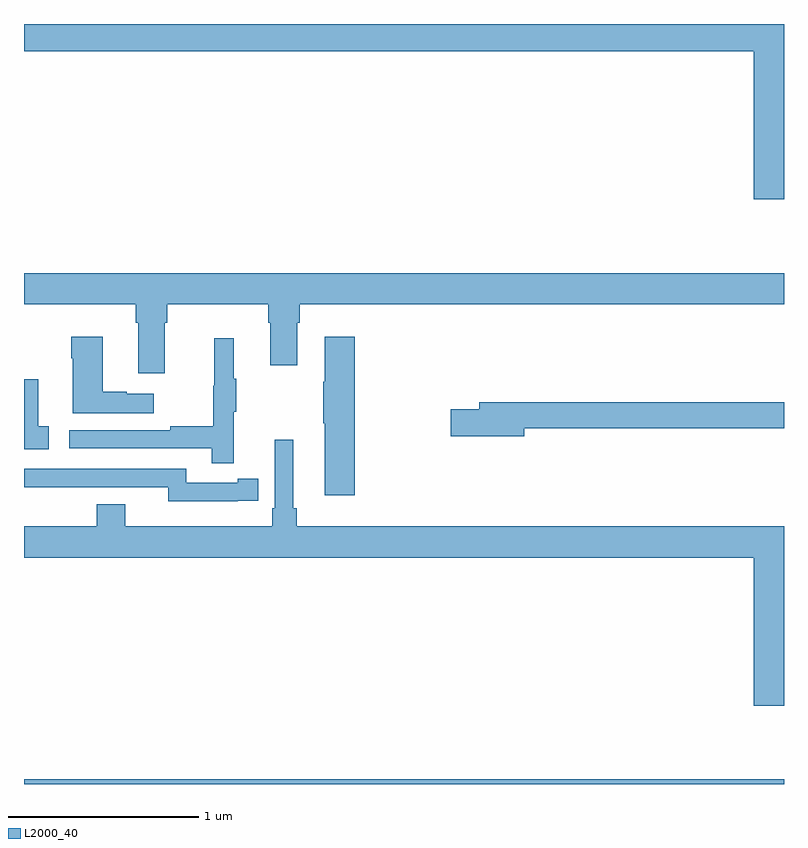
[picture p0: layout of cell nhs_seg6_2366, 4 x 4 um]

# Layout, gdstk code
import gdstk
lib = gdstk.Library(unit=1e-6, precision=1e-09)
def R(c, l, rs):  # rectangles x0, y0, x1, y1
    for r in rs: c.add(gdstk.rectangle(r[:2], r[2:], *l))
def P(c, l, *ps):  # polygons
    for p in ps: c.add(gdstk.Polygon(p, *l))
L2000_40 = (2000, 40)

nhs_seg6_2366 = lib.new_cell('nhs_seg6_2366')
R(nhs_seg6_2366, L2000_40, [(253,923.5,257,923.524)])
P(nhs_seg6_2366, L2000_40, [(257,927.5),(253,927.5),(253,927.356),(256.841,927.356),(256.841,926.577),(257,926.577)],
  [(253.741,925.928),(253.754,925.928),(253.754,926.024),(254.285,926.024),(254.285,925.928),(254.297,925.928),(254.297,925.704),(254.437,925.704),(254.437,925.928),(254.45,925.928),(254.45,926.024),(257,926.024),(257,926.188),(253,926.188),(253,926.024),(253.589,926.024),(253.589,925.928),(253.601,925.928),(253.601,925.662),(253.741,925.662)],
  [(253.684,925.555),(253.541,925.555),(253.541,925.565),(253.414,925.565),(253.414,925.855),(253.249,925.855),(253.249,925.742),(253.256,925.742),(253.256,925.451),(253.684,925.451)],
  [(254.741,925.855),(254.582,925.855),(254.582,925.616),(254.575,925.616),(254.575,925.399),(254.582,925.399),(254.582,925.02),(254.741,925.02)],
  [(254.105,925.459),(254.116,925.459),(254.116,925.633),(254.105,925.633),(254.105,925.846),(254.002,925.846),(254.002,925.596),(253.995,925.596),(253.995,925.382),(253.771,925.382),(253.771,925.362),(253.239,925.362),(253.239,925.266),(253.987,925.266),(253.987,925.188),(254.105,925.188)],
  [(253.129,925.383),(253.076,925.383),(253.076,925.63),(253,925.63),(253,925.263),(253.129,925.263)],
  [(255.634,925.372),(257,925.372),(257,925.508),(255.395,925.508),(255.395,925.472),(255.246,925.472),(255.246,925.33),(255.634,925.33)],
  [(257,924.856),(254.435,924.856),(254.435,924.952),(254.416,924.952),(254.416,925.312),(254.319,925.312),(254.319,924.952),(254.306,924.952),(254.306,924.856),(253.534,924.856),(253.534,924.973),(253.382,924.973),(253.382,924.856),(253,924.856),(253,924.692),(256.841,924.692),(256.841,923.913),(257,923.913)],
  [(254.126,924.99),(254.234,924.99),(254.234,925.106),(254.126,925.106),(254.126,925.086),(253.854,925.086),(253.854,925.158),(253,925.158),(253,925.061),(253.298,925.061),(253.298,925.062),(253.758,925.062),(253.758,924.989),(254.126,924.989)])

lib.write_gds('nhs_seg6_2366.gds')
